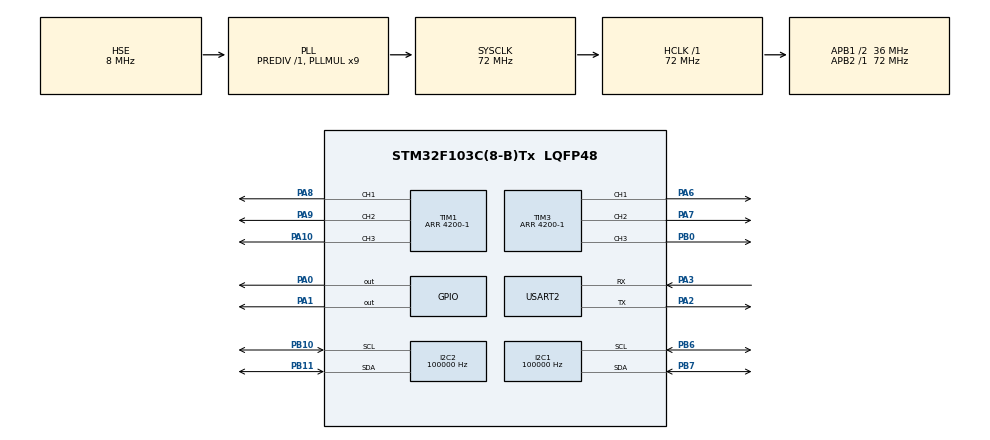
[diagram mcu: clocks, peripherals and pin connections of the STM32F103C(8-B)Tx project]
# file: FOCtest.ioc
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Dma.I2C1_RX.0.Direction=DMA_PERIPH_TO_MEMORY
Dma.I2C1_RX.0.Instance=DMA1_Channel7
Dma.I2C1_RX.0.MemDataAlignment=DMA_MDATAALIGN_BYTE
Dma.I2C1_RX.0.MemInc=DMA_MINC_ENABLE
Dma.I2C1_RX.0.Mode=DMA_NORMAL
Dma.I2C1_RX.0.PeriphDataAlignment=DMA_PDATAALIGN_BYTE
Dma.I2C1_RX.0.PeriphInc=DMA_PINC_DISABLE
Dma.I2C1_RX.0.Priority=DMA_PRIORITY_LOW
Dma.I2C2_RX.1.Direction=DMA_PERIPH_TO_MEMORY
Dma.I2C2_RX.1.Instance=DMA1_Channel5
Dma.I2C2_RX.1.MemDataAlignment=DMA_MDATAALIGN_BYTE
Dma.I2C2_RX.1.MemInc=DMA_MINC_ENABLE
Dma.I2C2_RX.1.Mode=DMA_NORMAL
Dma.I2C2_RX.1.PeriphDataAlignment=DMA_PDATAALIGN_BYTE
Dma.I2C2_RX.1.PeriphInc=DMA_PINC_DISABLE
Dma.I2C2_RX.1.Priority=DMA_PRIORITY_LOW
Dma.Request0=I2C1_RX
Dma.Request1=I2C2_RX
I2C1.ClockSpeed=100000
I2C2.ClockSpeed=100000
Mcu.Family=STM32F1
Mcu.Name=STM32F103C(8-B)Tx
Mcu.Package=LQFP48
NVIC.DMA1_Channel5_IRQn=true\:0\:0\:false\:false\:true\:false\:true\:true
NVIC.DMA1_Channel7_IRQn=true\:0\:0\:false\:false\:true\:false\:true\:true
NVIC.PriorityGroup=NVIC_PRIORITYGROUP_4
NVIC.TIM2_IRQn=true\:0\:0\:false\:false\:true\:true\:true\:true
PA0-WKUP.GPIO_ModeDefaultOutputPP=GPIO_MODE_OUTPUT_OD
PA0-WKUP.GPIO_PuPd=GPIO_PULLUP
PA0-WKUP.GPIO_Speed=GPIO_SPEED_FREQ_HIGH
PA0-WKUP.Signal=GPIO_Output
PA1.GPIO_ModeDefaultOutputPP=GPIO_MODE_OUTPUT_OD
PA1.GPIO_PuPd=GPIO_PULLUP
PA1.GPIO_Speed=GPIO_SPEED_FREQ_HIGH
PA1.Signal=GPIO_Output
PA10.Signal=S_TIM1_CH3
PA13.Mode=Serial_Wire
PA13.Signal=SYS_JTMS-SWDIO
PA14.Mode=Serial_Wire
PA14.Signal=SYS_JTCK-SWCLK
PA2.Mode=Asynchronous
PA2.Signal=USART2_TX
PA3.Mode=Asynchronous
PA3.Signal=USART2_RX
PA6.Signal=S_TIM3_CH1
PA7.Signal=S_TIM3_CH2
PA8.Signal=S_TIM1_CH1
PA9.Signal=S_TIM1_CH2
PB0.Signal=S_TIM3_CH3
PB10.Mode=I2C
PB10.Signal=I2C2_SCL
PB11.Mode=I2C
PB11.Signal=I2C2_SDA
PB6.Mode=I2C
PB6.Signal=I2C1_SCL
PB7.Mode=I2C
PB7.Signal=I2C1_SDA
PD0-OSC_IN.Mode=HSE-External-Oscillator
PD0-OSC_IN.Signal=RCC_OSC_IN
PD1-OSC_OUT.Mode=HSE-External-Oscillator
PD1-OSC_OUT.Signal=RCC_OSC_OUT
ProjectManager.HeapSize=0x200
ProjectManager.StackSize=0x400
ProjectManager.TargetToolchain=CMake
RCC.AHBFreq_Value=72000000
RCC.APB1CLKDivider=RCC_HCLK_DIV2
RCC.APB1Freq_Value=36000000
RCC.APB1TimFreq_Value=72000000
RCC.APB2Freq_Value=72000000
RCC.APB2TimFreq_Value=72000000
RCC.HCLKFreq_Value=72000000
RCC.PLLMUL=RCC_PLL_MUL9
RCC.PLLSourceVirtual=RCC_PLLSOURCE_HSE
RCC.SYSCLKFreq_VALUE=72000000
RCC.SYSCLKSource=RCC_SYSCLKSOURCE_PLLCLK
RCC.USBFreq_Value=72000000
SH.S_TIM1_CH1.0=TIM1_CH1,PWM Generation1 CH1
SH.S_TIM1_CH2.0=TIM1_CH2,PWM Generation2 CH2
SH.S_TIM1_CH3.0=TIM1_CH3,PWM Generation3 CH3
SH.S_TIM3_CH1.0=TIM3_CH1,PWM Generation1 CH1
SH.S_TIM3_CH2.0=TIM3_CH2,PWM Generation2 CH2
SH.S_TIM3_CH3.0=TIM3_CH3,PWM Generation3 CH3
TIM1.Channel-PWM\ Generation1\ CH1=TIM_CHANNEL_1
TIM1.Channel-PWM\ Generation2\ CH2=TIM_CHANNEL_2
TIM1.Channel-PWM\ Generation3\ CH3=TIM_CHANNEL_3
TIM1.Period=4200-1
TIM2.Period=1000
TIM2.Prescaler=144-1
TIM3.Channel-PWM\ Generation1\ CH1=TIM_CHANNEL_1
TIM3.Channel-PWM\ Generation2\ CH2=TIM_CHANNEL_2
TIM3.Channel-PWM\ Generation3\ CH3=TIM_CHANNEL_3
TIM3.Period=4200-1
USART2.VirtualMode=VM_ASYNC
VP_TIM2_VS_ClockSourceINT.Mode=Internal
board=custom

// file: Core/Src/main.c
/* USER CODE BEGIN Header */
/**
  ******************************************************************************
  * @file           : main.c
  * @brief          : Main program body
  ******************************************************************************
  * @attention
  *
  * Copyright (c) 2026 STMicroelectronics.
  * All rights reserved.
  *
  * This software is licensed under terms that can be found in the LICENSE file
  * in the root directory of this software component.
  * If no LICENSE file comes with this software, it is provided AS-IS.
  *
  ******************************************************************************
  */
/* USER CODE END Header */
#include "main.h"
#include "dma.h"
#include "i2c.h"
#include "tim.h"
#include "usart.h"
#include "gpio.h"

/* USER CODE BEGIN Includes */
#include "delay.h"
#include "MagneticSensor.h"
#include "mpu6050.h"
#include "FOC.h"
#include "lqr_ctrl.h"
/* USER CODE END Includes */

void SystemClock_Config(void);

int main(void)
{

  /* MCU Configuration--------------------------------------------------------*/

  /* Reset of all peripherals, Initializes the Flash interface and the Systick. */
  HAL_Init();

  /* Configure the system clock */
  SystemClock_Config();

  /* Initialize all configured peripherals */
  MX_GPIO_Init();
  MX_DMA_Init();
  MX_I2C1_Init();
  MX_TIM1_Init();
  MX_TIM3_Init();
  MX_I2C2_Init();
  MX_TIM2_Init();
  MX_USART2_UART_Init();
  /* USER CODE BEGIN 2 */
  /* SysTick 提到最高优先级：TIM2 中断里 HAL I2C 的超时判断依赖 HAL_GetTick */
  HAL_NVIC_SetPriority(SysTick_IRQn, 0, 0);

  /* TIM2 速度环中断：CubeMX 已在 MX_TIM2_Init 中使能 NVIC，
   * 这里把优先级降到 SysTick 之下，保证 HAL I2C 超时判断里的
   * HAL_GetTick 能在 TIM2 中断期间继续推进 */
  HAL_NVIC_SetPriority(TIM2_IRQn, 1, 0);
  HAL_NVIC_EnableIRQ(TIM2_IRQn);

  /* USART2 发送中断：只负责把遥测帧搬出去，优先级低于控制环 */
  HAL_NVIC_SetPriority(USART2_IRQn, 2, 0);
  HAL_NVIC_EnableIRQ(USART2_IRQn);

  /* 微秒延时/时间戳依赖 DWT，必须先于软件 I2C 与编码器初始化 */
  Delay_Init();

  /* 编码器：两路硬件 I2C（I2C1/I2C2，100kHz） */
  MagneticSensor_Init();

  /* IMU：软件 I2C（PA0/PA1） */
  MPU6050_Init();

  /* 电机：启动 PWM 并做零电角标定，每个电机阻塞约 3s */
  Motor_Init(&motor_left);
  Motor_Init(&motor_right);

  /* 标定结束后再开 2ms 速度环中断（TIM2: 72MHz/72/2000 = 500Hz） */
  HAL_TIM_Base_Start_IT(&htim2);

  uint32_t t_slow = HAL_GetTick();
  /* USER CODE END 2 */

  /* Infinite loop */
  while (1)
  {

    /* USER CODE BEGIN 3 */
    uint32_t now = HAL_GetTick();

    /* 5ms：姿态解算 → LQR → 下发速度目标 */
    if ((uint32_t)(now - t_slow) >= 5u) {
      t_slow = now;
      MPU6050_Update();
      LQR_Update();
    }
  }
  /* USER CODE END 3 */
}

void SystemClock_Config(void)
{
  RCC_OscInitTypeDef RCC_OscInitStruct = {0};
  RCC_ClkInitTypeDef RCC_ClkInitStruct = {0};

  /** Initializes the RCC Oscillators according to the specified parameters
  * in the RCC_OscInitTypeDef structure.
  */
  RCC_OscInitStruct.OscillatorType = RCC_OSCILLATORTYPE_HSE;
  RCC_OscInitStruct.HSEState = RCC_HSE_ON;
  RCC_OscInitStruct.HSEPredivValue = RCC_HSE_PREDIV_DIV1;
  RCC_OscInitStruct.HSIState = RCC_HSI_ON;
  RCC_OscInitStruct.PLL.PLLState = RCC_PLL_ON;
  RCC_OscInitStruct.PLL.PLLSource = RCC_PLLSOURCE_HSE;
  RCC_OscInitStruct.PLL.PLLMUL = RCC_PLL_MUL9;
  if (HAL_RCC_OscConfig(&RCC_OscInitStruct) != HAL_OK)
  {
    Error_Handler();
  }

  /** Initializes the CPU, AHB and APB buses clocks
  */
  RCC_ClkInitStruct.ClockType = RCC_CLOCKTYPE_HCLK|RCC_CLOCKTYPE_SYSCLK
                              |RCC_CLOCKTYPE_PCLK1|RCC_CLOCKTYPE_PCLK2;
  RCC_ClkInitStruct.SYSCLKSource = RCC_SYSCLKSOURCE_PLLCLK;
  RCC_ClkInitStruct.AHBCLKDivider = RCC_SYSCLK_DIV1;
  RCC_ClkInitStruct.APB1CLKDivider = RCC_HCLK_DIV2;
  RCC_ClkInitStruct.APB2CLKDivider = RCC_HCLK_DIV1;

  if (HAL_RCC_ClockConfig(&RCC_ClkInitStruct, FLASH_LATENCY_2) != HAL_OK)
  {
    Error_Handler();
  }
}

/* USER CODE BEGIN 4 */
/* printf 重定向到 USART2（PA2，115200）。阻塞发送，仅允许在非中断上下文
 * 调用（如初始化/标定打印）；TIM2 里的编码器遥测走 HAL_UART_Transmit_IT，
 * 不经过这里。 */
int __io_putchar(int ch)
{
  uint8_t c = (uint8_t)ch;
  HAL_UART_Transmit(&huart2, &c, 1, HAL_MAX_DELAY);
  return ch;
}
/* USER CODE END 4 */

void Error_Handler(void)
{
  __disable_irq();
  while (1)
  {
  }
}
